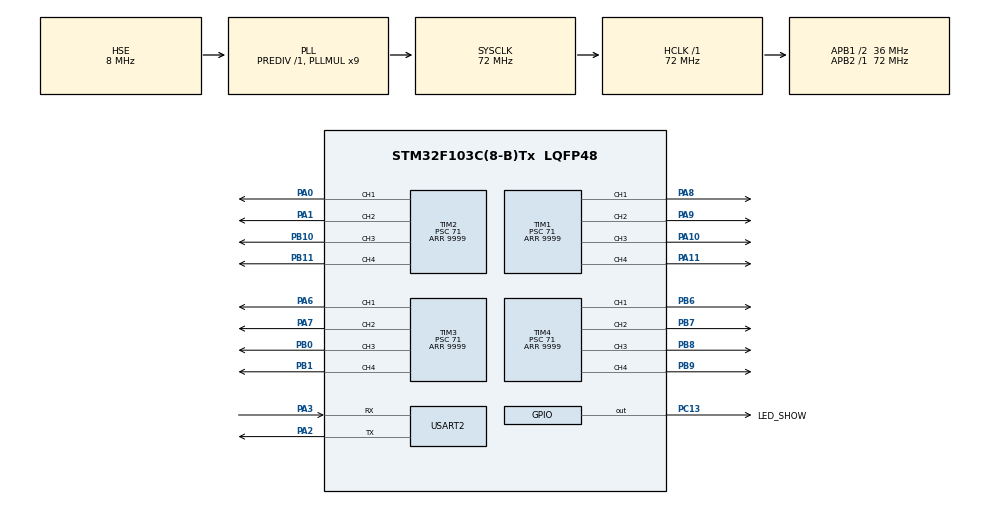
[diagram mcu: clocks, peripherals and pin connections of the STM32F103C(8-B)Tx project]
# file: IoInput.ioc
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Mcu.Family=STM32F1
Mcu.Name=STM32F103C(8-B)Tx
Mcu.Package=LQFP48
NVIC.PriorityGroup=NVIC_PRIORITYGROUP_4
NVIC.USART2_IRQn=true\:3\:0\:true\:false\:true\:true\:true
PA0-WKUP.Signal=S_TIM2_CH1_ETR
PA1.Signal=S_TIM2_CH2
PA10.Signal=S_TIM1_CH3
PA11.Signal=S_TIM1_CH4
PA13.Mode=Serial_Wire
PA13.Signal=SYS_JTMS-SWDIO
PA14.Mode=Serial_Wire
PA14.Signal=SYS_JTCK-SWCLK
PA2.Mode=Asynchronous
PA2.Signal=USART2_TX
PA3.Mode=Asynchronous
PA3.Signal=USART2_RX
PA6.Signal=S_TIM3_CH1
PA7.Signal=S_TIM3_CH2
PA8.Signal=S_TIM1_CH1
PA9.Signal=S_TIM1_CH2
PB0.Signal=S_TIM3_CH3
PB1.Signal=S_TIM3_CH4
PB10.Signal=S_TIM2_CH3
PB11.Signal=S_TIM2_CH4
PB6.Signal=S_TIM4_CH1
PB7.Signal=S_TIM4_CH2
PB8.Signal=S_TIM4_CH3
PB9.Signal=S_TIM4_CH4
PC13-TAMPER-RTC.GPIO_Label=LED_SHOW
PC13-TAMPER-RTC.Signal=GPIO_Output
PC14-OSC32_IN.Mode=LSE-External-Oscillator
PC14-OSC32_IN.Signal=RCC_OSC32_IN
PC15-OSC32_OUT.Mode=LSE-External-Oscillator
PC15-OSC32_OUT.Signal=RCC_OSC32_OUT
PD0-OSC_IN.Mode=HSE-External-Oscillator
PD0-OSC_IN.Signal=RCC_OSC_IN
PD1-OSC_OUT.Mode=HSE-External-Oscillator
PD1-OSC_OUT.Signal=RCC_OSC_OUT
ProjectManager.HeapSize=0x200
ProjectManager.StackSize=0x400
ProjectManager.TargetToolchain=MDK-ARM V5
RCC.AHBFreq_Value=72000000
RCC.APB1CLKDivider=RCC_HCLK_DIV2
RCC.APB1Freq_Value=36000000
RCC.APB1TimFreq_Value=72000000
RCC.APB2Freq_Value=72000000
RCC.APB2TimFreq_Value=72000000
RCC.HCLKFreq_Value=72000000
RCC.PLLMUL=RCC_PLL_MUL9
RCC.PLLSourceVirtual=RCC_PLLSOURCE_HSE
RCC.SYSCLKFreq_VALUE=72000000
RCC.SYSCLKSource=RCC_SYSCLKSOURCE_PLLCLK
RCC.USBFreq_Value=72000000
SH.S_TIM1_CH1.0=TIM1_CH1,PWM Generation1 CH1
SH.S_TIM1_CH2.0=TIM1_CH2,PWM Generation2 CH2
SH.S_TIM1_CH3.0=TIM1_CH3,Output Compare3 CH3
SH.S_TIM1_CH4.0=TIM1_CH4,Output Compare4 CH4
SH.S_TIM2_CH1_ETR.0=TIM2_CH1,PWM Generation1 CH1
SH.S_TIM2_CH2.0=TIM2_CH2,PWM Generation2 CH2
SH.S_TIM2_CH3.0=TIM2_CH3,PWM Generation3 CH3
SH.S_TIM2_CH4.0=TIM2_CH4,PWM Generation4 CH4
SH.S_TIM3_CH1.0=TIM3_CH1,PWM Generation1 CH1
SH.S_TIM3_CH2.0=TIM3_CH2,PWM Generation2 CH2
SH.S_TIM3_CH3.0=TIM3_CH3,PWM Generation3 CH3
SH.S_TIM3_CH4.0=TIM3_CH4,PWM Generation4 CH4
SH.S_TIM4_CH1.0=TIM4_CH1,PWM Generation1 CH1
SH.S_TIM4_CH2.0=TIM4_CH2,PWM Generation2 CH2
SH.S_TIM4_CH3.0=TIM4_CH3,PWM Generation3 CH3
SH.S_TIM4_CH4.0=TIM4_CH4,PWM Generation4 CH4
TIM1.Channel-Output\ Compare3\ CH3=TIM_CHANNEL_3
TIM1.Channel-Output\ Compare4\ CH4=TIM_CHANNEL_4
TIM1.Channel-PWM\ Generation1\ CH1=TIM_CHANNEL_1
TIM1.Channel-PWM\ Generation2\ CH2=TIM_CHANNEL_2
TIM1.Period=9999
TIM1.Prescaler=71
TIM2.Channel-PWM\ Generation1\ CH1=TIM_CHANNEL_1
TIM2.Channel-PWM\ Generation2\ CH2=TIM_CHANNEL_2
TIM2.Channel-PWM\ Generation3\ CH3=TIM_CHANNEL_3
TIM2.Channel-PWM\ Generation4\ CH4=TIM_CHANNEL_4
TIM2.Period=9999
TIM2.Prescaler=71
TIM3.Channel-PWM\ Generation1\ CH1=TIM_CHANNEL_1
TIM3.Channel-PWM\ Generation2\ CH2=TIM_CHANNEL_2
TIM3.Channel-PWM\ Generation3\ CH3=TIM_CHANNEL_3
TIM3.Channel-PWM\ Generation4\ CH4=TIM_CHANNEL_4
TIM3.Period=9999
TIM3.Prescaler=71
TIM4.Channel-PWM\ Generation1\ CH1=TIM_CHANNEL_1
TIM4.Channel-PWM\ Generation2\ CH2=TIM_CHANNEL_2
TIM4.Channel-PWM\ Generation3\ CH3=TIM_CHANNEL_3
TIM4.Channel-PWM\ Generation4\ CH4=TIM_CHANNEL_4
TIM4.Period=9999
TIM4.Prescaler=71
USART2.VirtualMode=VM_ASYNC
board=custom

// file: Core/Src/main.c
/* USER CODE BEGIN Header */
/**
  ******************************************************************************
  * @file           : main.c
  * @brief          : Main program body
  ******************************************************************************
  * @attention
  *
  * <h2><center>&copy; Copyright (c) 2020 STMicroelectronics.
  * All rights reserved.</center></h2>
  *
  * This software component is licensed by ST under BSD 3-Clause license,
  * the "License"; You may not use this file except in compliance with the
  * License. You may obtain a copy of the License at:
  *                        opensource.org/licenses/BSD-3-Clause
  *
  ******************************************************************************
  */
/* USER CODE END Header */
#include "main.h"

/* USER CODE BEGIN PD */
#define USART_REC_LEN  			100  	//定义最大接收字节数 200
#define RXBUFFERSIZE   			1 		//缓存大小
/* USER CODE END PD */

/* USER CODE BEGIN PM */
uint8_t USART2_RX_BUF[USART_REC_LEN]; //接收缓冲,最大USART_REC_LEN个字节.
uint16_t USART2_RX_STA = 0; //接收状态标记
uint8_t aRxBuffer2[RXBUFFERSIZE];		  //HAL库使用的串口接收缓冲
BaseSerialData SBUS_CH;
/* USER CODE END PM */

TIM_HandleTypeDef htim1;
TIM_HandleTypeDef htim2;
TIM_HandleTypeDef htim3;
TIM_HandleTypeDef htim4;

UART_HandleTypeDef huart2;

void SystemClock_Config(void);
static void MX_GPIO_Init(void);
static void MX_TIM4_Init(void);
static void MX_TIM1_Init(void);
static void MX_TIM2_Init(void);
static void MX_TIM3_Init(void);
static void MX_USART2_UART_Init(void);

/* USER CODE BEGIN 0 */
int rec_cnt = 0;

int PWMcenter =1500;
int PWMlow = 1000;
int PWMhigh = 2000;

int PWM_CH1_rec = 1500;

int PWM_CH2_rec = 1500;

/* USER CODE END 0 */

int main(void)
{
  /* USER CODE BEGIN 1 */
	//uint8_t send_data[5] = {0xA1, 0xF1, 0x1C, 0x2F, 0x33};

  /* USER CODE END 1 */

  /* MCU Configuration--------------------------------------------------------*/

  /* Reset of all peripherals, Initializes the Flash interface and the Systick. */
  HAL_Init();

  /* Configure the system clock */
  SystemClock_Config();

  /* Initialize all configured peripherals */
  MX_GPIO_Init();
  MX_TIM4_Init();
  MX_TIM1_Init();
  MX_TIM2_Init();
  MX_TIM3_Init();
  MX_USART2_UART_Init();
  /* USER CODE BEGIN 2 */
	//HAL_TIM_Base_Start_IT(&htim2);
	//HAL_TIM_PWM_Start(&htim4,TIM_CHANNEL_1);
	//HAL_TIM_PWM_Start(&htim4,TIM_CHANNEL_2);
	HAL_TIM_PWM_Start(&htim4,TIM_CHANNEL_3);
	HAL_TIM_PWM_Start(&htim4,TIM_CHANNEL_4);

  /* USER CODE END 2 */

  /* Infinite loop */
  /* USER CODE BEGIN WHILE */
	//__HAL_TIM_SET_COMPARE(&htim4, TIM_CHANNEL_1, 1500);
	//__HAL_TIM_SET_COMPARE(&htim4, TIM_CHANNEL_2, 1500);
	__HAL_TIM_SET_COMPARE(&htim4, TIM_CHANNEL_3, 1500);
	__HAL_TIM_SET_COMPARE(&htim4, TIM_CHANNEL_4, 1500);
  while (1)
  {
		HAL_Delay(10);
		if (rec_cnt%100 == 0 && rec_cnt > 30)
		{
			HAL_GPIO_TogglePin(LED_SHOW_GPIO_Port,LED_SHOW_Pin);
		}
		if (rec_cnt++ > 25)
		{
			PWM_CH2_rec = PWM_CH1_rec = PWMcenter;
		}

		__HAL_TIM_SET_COMPARE(&htim4, TIM_CHANNEL_3, PWM_CH1_rec);
		__HAL_TIM_SET_COMPARE(&htim4, TIM_CHANNEL_4, PWM_CH2_rec);
		//HAL_UART_Transmit(&huart1,send_data,5,10);
    /* USER CODE END WHILE */

  }
}

void SystemClock_Config(void)
{
  RCC_OscInitTypeDef RCC_OscInitStruct = {0};
  RCC_ClkInitTypeDef RCC_ClkInitStruct = {0};

  /** Initializes the RCC Oscillators according to the specified parameters
  * in the RCC_OscInitTypeDef structure.
  */
  RCC_OscInitStruct.OscillatorType = RCC_OSCILLATORTYPE_HSE;
  RCC_OscInitStruct.HSEState = RCC_HSE_ON;
  RCC_OscInitStruct.HSEPredivValue = RCC_HSE_PREDIV_DIV1;
  RCC_OscInitStruct.HSIState = RCC_HSI_ON;
  RCC_OscInitStruct.PLL.PLLState = RCC_PLL_ON;
  RCC_OscInitStruct.PLL.PLLSource = RCC_PLLSOURCE_HSE;
  RCC_OscInitStruct.PLL.PLLMUL = RCC_PLL_MUL9;
  if (HAL_RCC_OscConfig(&RCC_OscInitStruct) != HAL_OK)
  {
    Error_Handler();
  }
  /** Initializes the CPU, AHB and APB buses clocks
  */
  RCC_ClkInitStruct.ClockType = RCC_CLOCKTYPE_HCLK|RCC_CLOCKTYPE_SYSCLK
                              |RCC_CLOCKTYPE_PCLK1|RCC_CLOCKTYPE_PCLK2;
  RCC_ClkInitStruct.SYSCLKSource = RCC_SYSCLKSOURCE_PLLCLK;
  RCC_ClkInitStruct.AHBCLKDivider = RCC_SYSCLK_DIV1;
  RCC_ClkInitStruct.APB1CLKDivider = RCC_HCLK_DIV2;
  RCC_ClkInitStruct.APB2CLKDivider = RCC_HCLK_DIV1;

  if (HAL_RCC_ClockConfig(&RCC_ClkInitStruct, FLASH_LATENCY_2) != HAL_OK)
  {
    Error_Handler();
  }
}

static void MX_TIM1_Init(void)
{

  TIM_MasterConfigTypeDef sMasterConfig = {0};
  TIM_OC_InitTypeDef sConfigOC = {0};
  TIM_BreakDeadTimeConfigTypeDef sBreakDeadTimeConfig = {0};

  htim1.Instance = TIM1;
  htim1.Init.Prescaler = 71;
  htim1.Init.CounterMode = TIM_COUNTERMODE_UP;
  htim1.Init.Period = 9999;
  htim1.Init.ClockDivision = TIM_CLOCKDIVISION_DIV1;
  htim1.Init.RepetitionCounter = 0;
  htim1.Init.AutoReloadPreload = TIM_AUTORELOAD_PRELOAD_DISABLE;
  if (HAL_TIM_PWM_Init(&htim1) != HAL_OK)
  {
    Error_Handler();
  }
  if (HAL_TIM_OC_Init(&htim1) != HAL_OK)
  {
    Error_Handler();
  }
  sMasterConfig.MasterOutputTrigger = TIM_TRGO_RESET;
  sMasterConfig.MasterSlaveMode = TIM_MASTERSLAVEMODE_DISABLE;
  if (HAL_TIMEx_MasterConfigSynchronization(&htim1, &sMasterConfig) != HAL_OK)
  {
    Error_Handler();
  }
  sConfigOC.OCMode = TIM_OCMODE_PWM1;
  sConfigOC.Pulse = 0;
  sConfigOC.OCPolarity = TIM_OCPOLARITY_HIGH;
  sConfigOC.OCNPolarity = TIM_OCNPOLARITY_HIGH;
  sConfigOC.OCFastMode = TIM_OCFAST_DISABLE;
  sConfigOC.OCIdleState = TIM_OCIDLESTATE_RESET;
  sConfigOC.OCNIdleState = TIM_OCNIDLESTATE_RESET;
  if (HAL_TIM_PWM_ConfigChannel(&htim1, &sConfigOC, TIM_CHANNEL_1) != HAL_OK)
  {
    Error_Handler();
  }
  if (HAL_TIM_PWM_ConfigChannel(&htim1, &sConfigOC, TIM_CHANNEL_2) != HAL_OK)
  {
    Error_Handler();
  }
  sConfigOC.OCMode = TIM_OCMODE_TIMING;
  if (HAL_TIM_OC_ConfigChannel(&htim1, &sConfigOC, TIM_CHANNEL_3) != HAL_OK)
  {
    Error_Handler();
  }
  if (HAL_TIM_OC_ConfigChannel(&htim1, &sConfigOC, TIM_CHANNEL_4) != HAL_OK)
  {
    Error_Handler();
  }
  sBreakDeadTimeConfig.OffStateRunMode = TIM_OSSR_DISABLE;
  sBreakDeadTimeConfig.OffStateIDLEMode = TIM_OSSI_DISABLE;
  sBreakDeadTimeConfig.LockLevel = TIM_LOCKLEVEL_OFF;
  sBreakDeadTimeConfig.DeadTime = 0;
  sBreakDeadTimeConfig.BreakState = TIM_BREAK_DISABLE;
  sBreakDeadTimeConfig.BreakPolarity = TIM_BREAKPOLARITY_HIGH;
  sBreakDeadTimeConfig.AutomaticOutput = TIM_AUTOMATICOUTPUT_DISABLE;
  if (HAL_TIMEx_ConfigBreakDeadTime(&htim1, &sBreakDeadTimeConfig) != HAL_OK)
  {
    Error_Handler();
  }
  HAL_TIM_MspPostInit(&htim1);

}

static void MX_TIM2_Init(void)
{

  TIM_MasterConfigTypeDef sMasterConfig = {0};
  TIM_OC_InitTypeDef sConfigOC = {0};

  htim2.Instance = TIM2;
  htim2.Init.Prescaler = 71;
  htim2.Init.CounterMode = TIM_COUNTERMODE_UP;
  htim2.Init.Period = 9999;
  htim2.Init.ClockDivision = TIM_CLOCKDIVISION_DIV1;
  htim2.Init.AutoReloadPreload = TIM_AUTORELOAD_PRELOAD_DISABLE;
  if (HAL_TIM_PWM_Init(&htim2) != HAL_OK)
  {
    Error_Handler();
  }
  sMasterConfig.MasterOutputTrigger = TIM_TRGO_RESET;
  sMasterConfig.MasterSlaveMode = TIM_MASTERSLAVEMODE_DISABLE;
  if (HAL_TIMEx_MasterConfigSynchronization(&htim2, &sMasterConfig) != HAL_OK)
  {
    Error_Handler();
  }
  sConfigOC.OCMode = TIM_OCMODE_PWM1;
  sConfigOC.Pulse = 0;
  sConfigOC.OCPolarity = TIM_OCPOLARITY_HIGH;
  sConfigOC.OCFastMode = TIM_OCFAST_DISABLE;
  if (HAL_TIM_PWM_ConfigChannel(&htim2, &sConfigOC, TIM_CHANNEL_1) != HAL_OK)
  {
    Error_Handler();
  }
  if (HAL_TIM_PWM_ConfigChannel(&htim2, &sConfigOC, TIM_CHANNEL_2) != HAL_OK)
  {
    Error_Handler();
  }
  if (HAL_TIM_PWM_ConfigChannel(&htim2, &sConfigOC, TIM_CHANNEL_3) != HAL_OK)
  {
    Error_Handler();
  }
  if (HAL_TIM_PWM_ConfigChannel(&htim2, &sConfigOC, TIM_CHANNEL_4) != HAL_OK)
  {
    Error_Handler();
  }
  HAL_TIM_MspPostInit(&htim2);

}

static void MX_TIM3_Init(void)
{

  TIM_MasterConfigTypeDef sMasterConfig = {0};
  TIM_OC_InitTypeDef sConfigOC = {0};

  htim3.Instance = TIM3;
  htim3.Init.Prescaler = 71;
  htim3.Init.CounterMode = TIM_COUNTERMODE_UP;
  htim3.Init.Period = 9999;
  htim3.Init.ClockDivision = TIM_CLOCKDIVISION_DIV1;
  htim3.Init.AutoReloadPreload = TIM_AUTORELOAD_PRELOAD_DISABLE;
  if (HAL_TIM_PWM_Init(&htim3) != HAL_OK)
  {
    Error_Handler();
  }
  sMasterConfig.MasterOutputTrigger = TIM_TRGO_RESET;
  sMasterConfig.MasterSlaveMode = TIM_MASTERSLAVEMODE_DISABLE;
  if (HAL_TIMEx_MasterConfigSynchronization(&htim3, &sMasterConfig) != HAL_OK)
  {
    Error_Handler();
  }
  sConfigOC.OCMode = TIM_OCMODE_PWM1;
  sConfigOC.Pulse = 0;
  sConfigOC.OCPolarity = TIM_OCPOLARITY_HIGH;
  sConfigOC.OCFastMode = TIM_OCFAST_DISABLE;
  if (HAL_TIM_PWM_ConfigChannel(&htim3, &sConfigOC, TIM_CHANNEL_1) != HAL_OK)
  {
    Error_Handler();
  }
  if (HAL_TIM_PWM_ConfigChannel(&htim3, &sConfigOC, TIM_CHANNEL_2) != HAL_OK)
  {
    Error_Handler();
  }
  if (HAL_TIM_PWM_ConfigChannel(&htim3, &sConfigOC, TIM_CHANNEL_3) != HAL_OK)
  {
    Error_Handler();
  }
  if (HAL_TIM_PWM_ConfigChannel(&htim3, &sConfigOC, TIM_CHANNEL_4) != HAL_OK)
  {
    Error_Handler();
  }
  HAL_TIM_MspPostInit(&htim3);

}

static void MX_TIM4_Init(void)
{

  TIM_MasterConfigTypeDef sMasterConfig = {0};
  TIM_OC_InitTypeDef sConfigOC = {0};

  htim4.Instance = TIM4;
  htim4.Init.Prescaler = 71;
  htim4.Init.CounterMode = TIM_COUNTERMODE_UP;
  htim4.Init.Period = 9999;
  htim4.Init.ClockDivision = TIM_CLOCKDIVISION_DIV1;
  htim4.Init.AutoReloadPreload = TIM_AUTORELOAD_PRELOAD_DISABLE;
  if (HAL_TIM_PWM_Init(&htim4) != HAL_OK)
  {
    Error_Handler();
  }
  sMasterConfig.MasterOutputTrigger = TIM_TRGO_RESET;
  sMasterConfig.MasterSlaveMode = TIM_MASTERSLAVEMODE_DISABLE;
  if (HAL_TIMEx_MasterConfigSynchronization(&htim4, &sMasterConfig) != HAL_OK)
  {
    Error_Handler();
  }
  sConfigOC.OCMode = TIM_OCMODE_PWM1;
  sConfigOC.Pulse = 0;
  sConfigOC.OCPolarity = TIM_OCPOLARITY_HIGH;
  sConfigOC.OCFastMode = TIM_OCFAST_DISABLE;
  if (HAL_TIM_PWM_ConfigChannel(&htim4, &sConfigOC, TIM_CHANNEL_1) != HAL_OK)
  {
    Error_Handler();
  }
  if (HAL_TIM_PWM_ConfigChannel(&htim4, &sConfigOC, TIM_CHANNEL_2) != HAL_OK)
  {
    Error_Handler();
  }
  if (HAL_TIM_PWM_ConfigChannel(&htim4, &sConfigOC, TIM_CHANNEL_3) != HAL_OK)
  {
    Error_Handler();
  }
  if (HAL_TIM_PWM_ConfigChannel(&htim4, &sConfigOC, TIM_CHANNEL_4) != HAL_OK)
  {
    Error_Handler();
  }
  HAL_TIM_MspPostInit(&htim4);

}

static void MX_USART2_UART_Init(void)
{

  huart2.Instance = USART2;
  huart2.Init.BaudRate = 115200;
  huart2.Init.WordLength = UART_WORDLENGTH_8B;
  huart2.Init.StopBits = UART_STOPBITS_1;
  huart2.Init.Parity = UART_PARITY_NONE;
  huart2.Init.Mode = UART_MODE_TX_RX;
  huart2.Init.HwFlowCtl = UART_HWCONTROL_NONE;
  huart2.Init.OverSampling = UART_OVERSAMPLING_16;
  if (HAL_UART_Init(&huart2) != HAL_OK)
  {
    Error_Handler();
  }

}

static void MX_GPIO_Init(void)
{
  GPIO_InitTypeDef GPIO_InitStruct = {0};

  /* GPIO Ports Clock Enable */
  __HAL_RCC_GPIOC_CLK_ENABLE();
  __HAL_RCC_GPIOD_CLK_ENABLE();
  __HAL_RCC_GPIOA_CLK_ENABLE();
  __HAL_RCC_GPIOB_CLK_ENABLE();

  /*Configure GPIO pin Output Level */
  HAL_GPIO_WritePin(LED_SHOW_GPIO_Port, LED_SHOW_Pin, GPIO_PIN_RESET);

  /*Configure GPIO pin : LED_SHOW_Pin */
  GPIO_InitStruct.Pin = LED_SHOW_Pin;
  GPIO_InitStruct.Mode = GPIO_MODE_OUTPUT_PP;
  GPIO_InitStruct.Pull = GPIO_NOPULL;
  GPIO_InitStruct.Speed = GPIO_SPEED_FREQ_LOW;
  HAL_GPIO_Init(LED_SHOW_GPIO_Port, &GPIO_InitStruct);

}

/* USER CODE BEGIN 4 */

void HAL_TIM_PeriodElapsedCallback(TIM_HandleTypeDef *htim)
{
//	if (htim->Instance == htim2.Instance)
//	{
//		pwmcnt++;
//		if (pwmcnt < PWM_CH1_check)
//		{
//			HAL_GPIO_WritePin(PWM_CH1_GPIO_Port, PWM_CH1_Pin,GPIO_PIN_SET);
//		}else
//		{
//			HAL_GPIO_WritePin(PWM_CH1_GPIO_Port, PWM_CH1_Pin,GPIO_PIN_RESET);
//		}
//
//		if (pwmcnt < PWM_CH2_check)
//		{
//			HAL_GPIO_WritePin(PWM_CH2_GPIO_Port, PWM_CH2_Pin,GPIO_PIN_SET);
//		}else
//		{
//			HAL_GPIO_WritePin(PWM_CH2_GPIO_Port, PWM_CH2_Pin,GPIO_PIN_RESET);
//		}
//		if (pwmcnt >= PWM1ms*10)
//		{
//			PWM_CH1_check = PWM_CH1_rec;
//			PWM_CH2_check = PWM_CH2_rec;
//			pwmcnt = 0;
//		}
//	}
}

int Usart1_Flag = 0;
uint8_t Usart1Rxbuf[38];

void HAL_UART_RxCpltCallback(UART_HandleTypeDef *huart)
{
	int pwm_rec = 0;
	//float pwm_percent = 0;
	if (huart->Instance == USART2) //如果是串口2
	{

		//HAL_UART_Transmit(&huart1,aRxBuffer2,1,10);
		uint8_t temp;
		static uint8_t U1_count,
									U1_last_data,
									U1_last_last_data,
									U1_last_last_last_data;
		temp = aRxBuffer2[0];
		if(Usart1_Flag==0)
		{
			if(U1_last_data==0xFD&&U1_last_last_data==0xFE&&U1_last_last_last_data==0xFF)
			{
				Usart1_Flag=1,U1_count=0;
				Usart1Rxbuf[U1_count++] = 0xFF;
				Usart1Rxbuf[U1_count++] = 0xFE;
				Usart1Rxbuf[U1_count++] = 0xFD;
			}
		}

		if(Usart1_Flag==1)
		{
			Usart1Rxbuf[U1_count]=temp;

			U1_count++;
			if(U1_count==38)
			{
				Usart1_Flag=0;
				//方向
				if (Usart1Rxbuf[35] == 0xFD && Usart1Rxbuf[36] == 0xFE && Usart1Rxbuf[37] == 0xFF)
				{
					HAL_GPIO_TogglePin(LED_SHOW_GPIO_Port,LED_SHOW_Pin);
					rec_cnt = 0;
					pwm_rec = (Usart1Rxbuf[3]* 0x100 + Usart1Rxbuf[4]);
					if (pwm_rec > PWMhigh)
					{
						pwm_rec = PWMhigh;
					}

					if (pwm_rec < PWMlow)
					{
						pwm_rec = PWMlow;
					}

					PWM_CH1_rec = pwm_rec;

					pwm_rec = (Usart1Rxbuf[5]* 0x100 + Usart1Rxbuf[6]);
					if (pwm_rec > PWMhigh)
					{
						pwm_rec = PWMhigh;
					}
						if (pwm_rec < PWMlow)
					{
						pwm_rec = PWMlow;
					}

					PWM_CH2_rec = pwm_rec;

//
//					//run
//					__HAL_TIM_SET_COMPARE(&htim4, TIM_CHANNEL_1, Usart1Rxbuf[4]* 0xFF + Usart1Rxbuf[5]);
//					//turn
//					__HAL_TIM_SET_COMPARE(&htim4, TIM_CHANNEL_2, Usart1Rxbuf[6]* 0xFF + Usart1Rxbuf[7]);
//					//水平
//					__HAL_TIM_SET_COMPARE(&htim4, TIM_CHANNEL_3, Usart1Rxbuf[8]* 0xFF + Usart1Rxbuf[9]);
//					//垂直
//					__HAL_TIM_SET_COMPARE(&htim4, TIM_CHANNEL_4, Usart1Rxbuf[10]* 0xFF + Usart1Rxbuf[11]);
				}

			}
		}
		else
		{
		  Usart1_Flag =0;
		}
		U1_last_last_last_data=U1_last_last_data;
		U1_last_last_data=U1_last_data;
		U1_last_data=temp;

		HAL_UART_Receive_IT(&huart2, (uint8_t *)aRxBuffer2, RXBUFFERSIZE); //该函数会开启接收中断：标志位UART_IT_RXNE，并且设置接收缓冲以及接收缓冲接收最大数据量
	}

}

/* USER CODE END 4 */

void Error_Handler(void)
{
}

/************************ (C) COPYRIGHT STMicroelectronics *****END OF FILE****/
